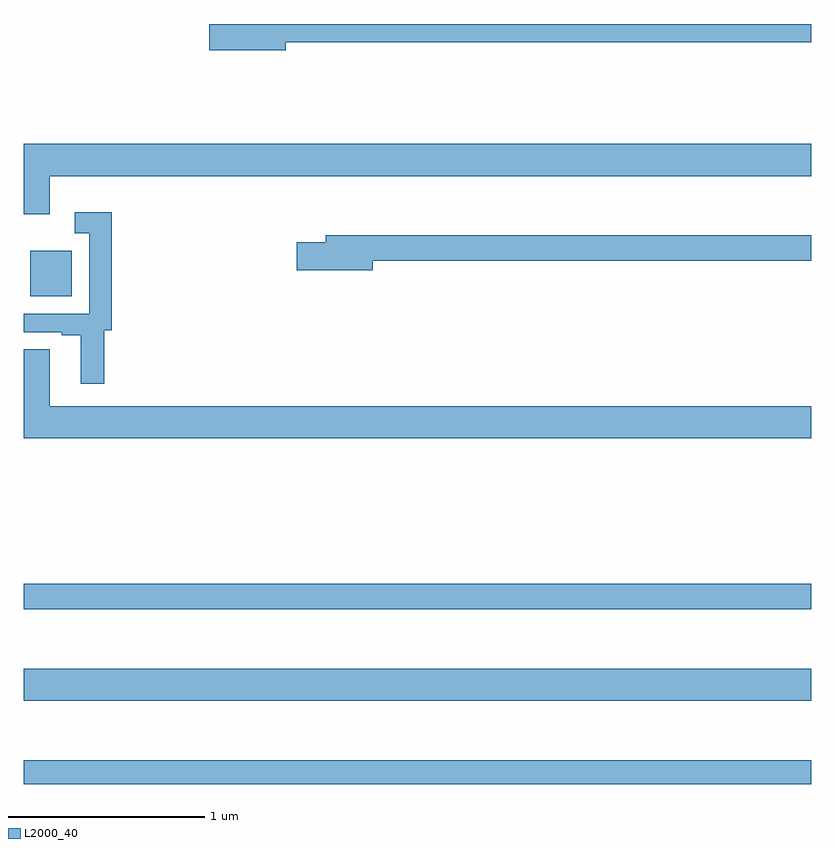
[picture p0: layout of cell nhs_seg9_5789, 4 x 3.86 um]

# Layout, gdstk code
import gdstk
lib = gdstk.Library(unit=1e-6, precision=1e-09)
def R(c, l, rs):  # rectangles x0, y0, x1, y1
    for r in rs: c.add(gdstk.rectangle(r[:2], r[2:], *l))
def P(c, l, *ps):  # polygons
    for p in ps: c.add(gdstk.Polygon(p, *l))
L2000_40 = (2000, 40)

nhs_seg9_5789 = lib.new_cell('nhs_seg9_5789')
R(nhs_seg9_5789, L2000_40, [(447,1218.642,451,1218.763), (447,1219.064,451,1219.228), (447,1219.53,451,1219.658), (447.035,1221.119,447.244,1221.349)])
P(nhs_seg9_5789, L2000_40, [(448.33,1222.408),(451,1222.408),(451,1222.5),(447.942,1222.5),(447.942,1222.366),(448.33,1222.366)],
  [(447.133,1221.728),(451,1221.728),(451,1221.892),(447,1221.892),(447,1221.534),(447.133,1221.534)],
  [(447.409,1220.946),(447.449,1220.946),(447.449,1221.544),(447.261,1221.544),(447.261,1221.438),(447.333,1221.438),(447.333,1221.03),(447,1221.03),(447,1220.934),(447.194,1220.934),(447.194,1220.919),(447.29,1220.919),(447.29,1220.673),(447.409,1220.673)],
  [(448.774,1221.298),(451,1221.298),(451,1221.427),(448.535,1221.427),(448.535,1221.393),(448.386,1221.393),(448.386,1221.251),(448.774,1221.251)],
  [(451,1220.56),(447.133,1220.56),(447.133,1220.849),(447,1220.849),(447,1220.396),(451,1220.396)])

lib.write_gds('nhs_seg9_5789.gds')
